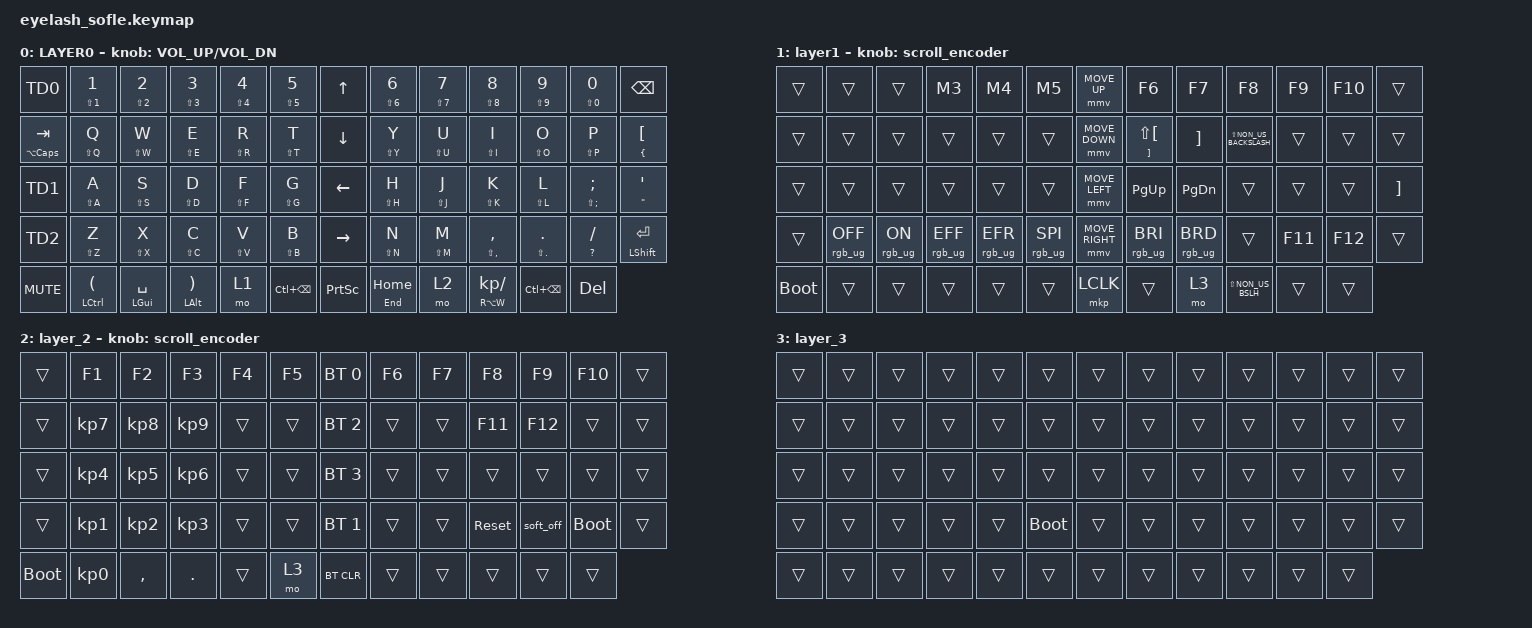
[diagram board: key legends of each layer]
#define ZMK_POINTING_DEFAULT_MOVE_VAL 1200  // 600
#define ZMK_POINTING_DEFAULT_SCRL_VAL 25   // 10

#include <input/processors.dtsi>
#include <zephyr/dt-bindings/input/input-event-codes.h>
#include <behaviors.dtsi>
#include <dt-bindings/zmk/bt.h>
#include <dt-bindings/zmk/keys.h>
#include <dt-bindings/zmk/pointing.h>
#include <dt-bindings/zmk/rgb.h>

&mmv_input_listener { input-processors = <&zip_xy_scaler 2 1>; };

&msc_input_listener { input-processors = <&zip_scroll_scaler 2 1>; };

&msc {
    acceleration-exponent = <1>;      // 0
    time-to-max-speed-ms = <100>;       // 300
    delay-ms = <0>;                   // 0
};

&mmv {
    time-to-max-speed-ms = <500>;
    acceleration-exponent = <1>;
    trigger-period-ms = <16>;
};

&mt { flavor = "tap-preferred"; };

/ {
    scroll_encoder: scroll_encoder {
        compatible = "zmk,behavior-sensor-rotate";
        #sensor-binding-cells = <0>;
        bindings = <&msc SCRL_DOWN>, <&msc SCRL_UP>;

        tap-ms = <100>;
    };

    TD0: TD0 {
        compatible = "zmk,behavior-tap-dance";
        label = "TD0";
        #binding-cells = <0>;
        tapping-term-ms = <200>;
        bindings = <&kp LS(GRAVE)>, <&kp ESC>, <&kp GRAVE>;
    };

    TD1: TD1 {
        compatible = "zmk,behavior-tap-dance";
        label = "TD1";
        #binding-cells = <0>;
        tapping-term-ms = <200>;
        bindings = <&kp MINUS>, <&kp UNDER>, <&kp RA(RIGHT_BRACKET)>;
    };

    TD2: TD2 {
        compatible = "zmk,behavior-tap-dance";
        label = "TD2";
        #binding-cells = <0>;
        bindings = <&kp EQUAL>, <&kp PLUS>, <&kp RA(SLASH)>;
    };

    TD3: TD3 {
        compatible = "zmk,behavior-tap-dance";
        label = "TD3";
        #binding-cells = <0>;
        bindings = <&kp RA(W)>, <&kp KP_DIVIDE>, <&kp RA(SLASH)>;
    };

    as: as {
        compatible = "zmk,behavior-hold-tap";
        label = "Auto_Shift";
        bindings = <&kp>, <&kp>;

        #binding-cells = <2>;
        tapping-term-ms = <175>;
        quick-tap-ms = <0>;
        flavor = "tap-preferred";
    };

    combos {
        compatible = "zmk,combos";

        C1 {
            bindings = <&M1>;
            key-positions = <1 3>;
        };

        C2 {
            bindings = <&M2>;
            key-positions = <1 2 3>;
        };

        C3 {
            bindings = <&M6>;
            key-positions = <40 41 42>;
        };

        C4 {
            bindings = <&M7>;
            key-positions = <1 2>;
        };

        C5 {
            bindings = <&M8>;
            key-positions = <50 51>;
        };

        VerticalSlash {
            bindings = <&kp LS(NON_US_BSLH)>;
            key-positions = <61 59>;
        };

        c6 {
            bindings = <&M9>;
            key-positions = <2 4>;
        };

        C7 {
            bindings = <&M10>;
            key-positions = <3 5>;
        };
    };

    macros {
        M1: M1 {
            compatible = "zmk,behavior-macro";
            #binding-cells = <0>;
            bindings = <&kp N1 &kp N3 &kp N1 &kp N4>;
            label = "M1";
            wait-ms = <0>;
            tap-ms = <0>;
        };

        M2: M2 {
            compatible = "zmk,behavior-macro";
            #binding-cells = <0>;
            bindings = <&kp N0 &kp N2 &kp N1 &kp N0 &kp N8 &kp N8 &kp N2 &kp N2 &kp N5 &kp N5 &kp N0>;
            label = "M2";
            wait-ms = <0>;
            tap-ms = <0>;
        };

        M3: M3 {
            compatible = "zmk,behavior-macro";
            #binding-cells = <0>;
            bindings = <&kp LS(J) &kp P &kp N1 &kp N6 &kp N5 &kp N3 &kp N9 &kp N2 &kp N2>;
            label = "M3";
            wait-ms = <0>;
            tap-ms = <0>;
        };

        M4: M4 {
            compatible = "zmk,behavior-macro";
            #binding-cells = <0>;
            bindings = <&kp S &kp A &kp N &kp T &kp A &kp N &kp A &kp N1 &kp N3 &kp RET>;
            label = "M4";
            wait-ms = <0>;
            tap-ms = <0>;
        };

        M5: M5 {
            compatible = "zmk,behavior-macro";
            #binding-cells = <0>;
            bindings = <&kp J &kp O &kp A &kp O &kp P &kp A &kp U &kp L &kp O &kp S &kp A &kp N &kp T &kp A &kp N &kp A &kp N1 &kp N3 &kp N1 &kp N3 &kp AT &kp G &kp M &kp A &kp I &kp L &kp DOT &kp C &kp O &kp M>;
            label = "M5";
            wait-ms = <0>;
            tap-ms = <0>;
        };

        M6: M6 {
            compatible = "zmk,behavior-macro";
            #binding-cells = <0>;
            bindings = <&kp LC(LA(DELETE))>;
            label = "M6";
            wait-ms = <0>;
            tap-ms = <0>;
        };

        M7: M7 {
            compatible = "zmk,behavior-macro";
            #binding-cells = <0>;
            bindings = <&kp N1 &kp N2 &kp N5 &kp N9 &kp N1>;
            label = "M7";
            wait-ms = <0>;
            tap-ms = <0>;
        };

        M8: M8 {
            compatible = "zmk,behavior-macro";
            #binding-cells = <0>;
            bindings = <&kp LS(ENTER)>;
            label = "M8";
        };

        M9: M9 {
            compatible = "zmk,behavior-macro";
            #binding-cells = <0>;
            bindings = <&kp N1 &kp N2 &kp N0 &kp N7 &kp N8 &kp ENTER>;
            label = "M9";
            wait-ms = <0>;
            tap-ms = <0>;
        };

        M10: M10 {
            compatible = "zmk,behavior-macro";
            #binding-cells = <0>;
            bindings = <&kp N1 &kp N3 &kp N9 &kp N3 &kp N1 &kp ENTER>;
            label = "M10";
            wait-ms = <0>;
            tap-ms = <0>;
        };
    };

    behaviors {
    };

    keymap {
        compatible = "zmk,keymap";

        layer0 {
            bindings = <
&TD0              &as LS(N1) NUMBER_1         &as LS(N2) NUMBER_2  &as LS(N3) NUMBER_3             &as LS(N4) NUMBER_4  &as LS(N5) N5        &kp UP_ARROW     &as LS(N6) NUMBER_6  &as LS(N7) N7  &as LS(N8) N8        &as LS(N9) N9      &as LS(N0) N0       &kp BACKSPACE
&as LA(CAPS) TAB  &as LS(Q) Q                 &as LS(W) W          &as LS(E) E                     &as LS(R) R          &as LS(T) T          &kp DOWN_ARROW   &as LS(Y) Y          &as LS(U) U    &as LS(I) I          &as LS(O) O        &as LS(P) P         &as LEFT_BRACE LEFT_BRACKET
&TD1              &as LS(A) A                 &as LS(S) S          &as LS(D) D                     &as LS(F) F          &as LS(G) G          &kp LEFT_ARROW   &as LS(H) H          &as LS(J) J    &as LS(K) K          &as LS(L) L        &as LS(SEMI) SEMI   &as DOUBLE_QUOTES SINGLE_QUOTE
&TD2              &as LS(Z) Z                 &as LS(X) X          &as LS(C) C                     &as LS(V) V          &as LS(B) B          &kp RIGHT_ARROW  &as LS(N) N          &as LS(M) M    &as LS(COMMA) COMMA  &as LS(DOT) DOT    &as QUESTION SLASH  &as LEFT_SHIFT ENTER
&kp C_MUTE        &as LCTRL LEFT_PARENTHESIS  &as LEFT_GUI SPACE   &as LEFT_ALT RIGHT_PARENTHESIS  &mo 1                &kp LC(BACKSPACE)    &kp PRINTSCREEN  &mt END HOME         &mo 2          &as RA(W) KP_SLASH   &kp LC(BACKSPACE)  &kp DELETE
            >;

            sensor-bindings = <&inc_dec_kp C_VOLUME_UP C_VOL_DN>;
            display-name = "LAYER0";
        };

        layer_1 {
            bindings = <
&trans       &trans           &trans          &M3              &M4              &M5                &mmv MOVE_UP     &kp F6                              &kp F7             &kp F8                    &kp F9   &kp F10  &trans
&trans       &trans           &trans          &trans           &trans           &trans             &mmv MOVE_DOWN   &as RIGHT_BRACKET LS(LEFT_BRACKET)  &kp RIGHT_BRACKET  &kp LS(NON_US_BACKSLASH)  &trans   &trans   &trans
&trans       &trans           &trans          &trans           &trans           &trans             &mmv MOVE_LEFT   &kp PG_UP                           &kp PAGE_DOWN      &trans                    &trans   &trans   &kp RIGHT_BRACKET
&trans       &rgb_ug RGB_OFF  &rgb_ug RGB_ON  &rgb_ug RGB_EFF  &rgb_ug RGB_EFR  &rgb_ug RGB_SPI    &mmv MOVE_RIGHT  &rgb_ug RGB_BRI                     &rgb_ug RGB_BRD    &trans                    &kp F11  &kp F12  &trans
&bootloader  &trans           &trans          &trans           &trans           &trans             &mkp LCLK        &trans                              &mo 3              &kp LS(NON_US_BSLH)       &trans   &trans
            >;

            display-name = "layer1";
            sensor-bindings = <&scroll_encoder>;
        };

        layer_2 {
            bindings = <
&trans       &kp F1           &kp F2           &kp F3           &kp F4  &kp F5    &bt BT_SEL 0  &kp F6  &kp F7  &kp F8      &kp F9     &kp F10      &trans
&trans       &kp KP_NUMBER_7  &kp KP_NUMBER_8  &kp KP_NUMBER_9  &trans  &trans    &bt BT_SEL 2  &trans  &trans  &kp F11     &kp F12    &trans       &trans
&trans       &kp KP_NUMBER_4  &kp KP_NUMBER_5  &kp KP_NUMBER_6  &trans  &trans    &bt BT_SEL 3  &trans  &trans  &trans      &trans     &trans       &trans
&trans       &kp KP_NUMBER_1  &kp KP_NUMBER_2  &kp KP_NUMBER_3  &trans  &trans    &bt BT_SEL 1  &trans  &trans  &sys_reset  &soft_off  &bootloader  &trans
&bootloader  &kp KP_NUMBER_0  &kp COMMA        &kp PERIOD       &trans  &mo 3     &bt BT_CLR    &trans  &trans  &trans      &trans     &trans
            >;

            sensor-bindings = <&scroll_encoder>;
        };

        layer_3 {
            bindings = <
&trans  &trans  &trans  &trans  &trans  &trans         &trans  &trans  &trans  &trans  &trans  &trans  &trans
&trans  &trans  &trans  &trans  &trans  &trans         &trans  &trans  &trans  &trans  &trans  &trans  &trans
&trans  &trans  &trans  &trans  &trans  &trans         &trans  &trans  &trans  &trans  &trans  &trans  &trans
&trans  &trans  &trans  &trans  &trans  &bootloader    &trans  &trans  &trans  &trans  &trans  &trans  &trans
&trans  &trans  &trans  &trans  &trans  &trans         &trans  &trans  &trans  &trans  &trans  &trans
            >;
        };
    };

    conditional_layers { compatible = "zmk,conditional-layers"; };
};
